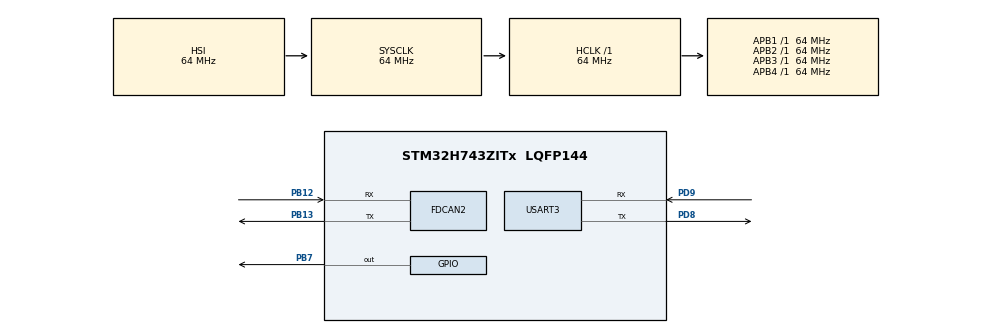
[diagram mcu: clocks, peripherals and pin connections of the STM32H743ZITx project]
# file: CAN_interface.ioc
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Mcu.Family=STM32H7
Mcu.Name=STM32H743ZITx
Mcu.Package=LQFP144
NVIC.PriorityGroup=NVIC_PRIORITYGROUP_4
PB12.Mode=FDCANSlave
PB12.Signal=FDCAN2_RX
PB13.Mode=FDCANSlave
PB13.Signal=FDCAN2_TX
PB7.Signal=GPIO_Output
PD8.Mode=Asynchronous
PD8.Signal=USART3_TX
PD9.Mode=Asynchronous
PD9.Signal=USART3_RX
ProjectManager.HeapSize=0x200
ProjectManager.StackSize=0x400
ProjectManager.TargetToolchain=SW4STM32
RCC.ADCFreq_Value=129000000
RCC.APB1Freq_Value=64000000
RCC.APB2Freq_Value=64000000
RCC.APB3Freq_Value=64000000
RCC.APB4Freq_Value=64000000
RCC.CortexFreq_Value=64000000
RCC.HCLKFreq_Value=64000000
RCC.SYSCLKFreq_VALUE=64000000
RCC.USBFreq_Value=129000000
USART3.VirtualMode-Asynchronous=VM_ASYNC
board=custom

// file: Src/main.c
/**
  ******************************************************************************
  * @file           : main.c
  * @brief          : Main program body
  ******************************************************************************
  ** This notice applies to any and all portions of this file
  * that are not between comment pairs USER CODE BEGIN and
  * USER CODE END. Other portions of this file, whether
  * inserted by the user or by software development tools
  * are owned by their respective copyright owners.
  *
  * COPYRIGHT(c) 2018 STMicroelectronics
  *
  * Redistribution and use in source and binary forms, with or without modification,
  * are permitted provided that the following conditions are met:
  *   1. Redistributions of source code must retain the above copyright notice,
  *      this list of conditions and the following disclaimer.
  *   2. Redistributions in binary form must reproduce the above copyright notice,
  *      this list of conditions and the following disclaimer in the documentation
  *      and/or other materials provided with the distribution.
  *   3. Neither the name of STMicroelectronics nor the names of its contributors
  *      may be used to endorse or promote products derived from this software
  *      without specific prior written permission.
  *
  * THIS SOFTWARE IS PROVIDED BY THE COPYRIGHT HOLDERS AND CONTRIBUTORS "AS IS"
  * AND ANY EXPRESS OR IMPLIED WARRANTIES, INCLUDING, BUT NOT LIMITED TO, THE
  * IMPLIED WARRANTIES OF MERCHANTABILITY AND FITNESS FOR A PARTICULAR PURPOSE ARE
  * DISCLAIMED. IN NO EVENT SHALL THE COPYRIGHT HOLDER OR CONTRIBUTORS BE LIABLE
  * FOR ANY DIRECT, INDIRECT, INCIDENTAL, SPECIAL, EXEMPLARY, OR CONSEQUENTIAL
  * DAMAGES (INCLUDING, BUT NOT LIMITED TO, PROCUREMENT OF SUBSTITUTE GOODS OR
  * SERVICES; LOSS OF USE, DATA, OR PROFITS; OR BUSINESS INTERRUPTION) HOWEVER
  * CAUSED AND ON ANY THEORY OF LIABILITY, WHETHER IN CONTRACT, STRICT LIABILITY,
  * OR TORT (INCLUDING NEGLIGENCE OR OTHERWISE) ARISING IN ANY WAY OUT OF THE USE
  * OF THIS SOFTWARE, EVEN IF ADVISED OF THE POSSIBILITY OF SUCH DAMAGE.
  *
  ******************************************************************************
  */
#include "main.h"
#include "stm32h7xx_hal.h"

FDCAN_HandleTypeDef hfdcan2;

UART_HandleTypeDef huart3;

/* USER CODE BEGIN PV */
/* Private variables ---------------------------------------------------------*/
#define TRANSMITTER 0

FDCAN_RxHeaderTypeDef RxHeader;
uint8_t RxData[8];
FDCAN_TxHeaderTypeDef TxHeader;
uint8_t TxData[8] = "Trillium";
uint8_t new_line = '\n';
FDCAN_FilterTypeDef sFilterConfig;
/* USER CODE END PV */

void SystemClock_Config(void);
static void MX_GPIO_Init(void);
static void MX_USART3_UART_Init(void);
static void MX_FDCAN2_Init(void);

/* USER CODE BEGIN PFP */
/* Private function prototypes -----------------------------------------------*/

/* USER CODE END PFP */

int main(void)
{

  /* MCU Configuration----------------------------------------------------------*/

  /* Reset of all peripherals, Initializes the Flash interface and the Systick. */
  HAL_Init();

  /* Configure the system clock */
  SystemClock_Config();

  /* Initialize all configured peripherals */
  MX_GPIO_Init();
  MX_USART3_UART_Init();
  MX_FDCAN2_Init();
  /* USER CODE BEGIN 2 */
  HAL_FDCAN_Start(&hfdcan2);

  if (TRANSMITTER) {
	  /* Prepare Tx Header */
	  TxHeader.Identifier = 0x321;
	  TxHeader.IdType = FDCAN_STANDARD_ID;
	  TxHeader.TxFrameType = FDCAN_DATA_FRAME;
	  TxHeader.DataLength = FDCAN_DLC_BYTES_8;
	  TxHeader.ErrorStateIndicator = FDCAN_ESI_ACTIVE;
	  TxHeader.BitRateSwitch = FDCAN_BRS_OFF;
	  TxHeader.FDFormat = FDCAN_CLASSIC_CAN;
	  TxHeader.TxEventFifoControl = FDCAN_NO_TX_EVENTS;
	  TxHeader.MessageMarker = 0;
  }
  else {
	  /* Configure extended ID reception filter to Rx FIFO 1 */
	  sFilterConfig.IdType = FDCAN_STANDARD_ID;
	  sFilterConfig.FilterIndex = 0;
	  sFilterConfig.FilterType = FDCAN_FILTER_DUAL;
	  sFilterConfig.FilterConfig = FDCAN_FILTER_TO_RXFIFO1;
	  sFilterConfig.FilterID1 = 0x321;
	  HAL_FDCAN_ConfigFilter(&hfdcan2, &sFilterConfig);
  }
  /* USER CODE END 2 */

  /* Infinite loop */
  /* USER CODE BEGIN WHILE */
  while (1)
  {
	  if (TRANSMITTER) {
		  HAL_FDCAN_AddMessageToTxFifoQ(&hfdcan2, &TxHeader, TxData);
		  HAL_Delay(2000);
	  }
	  else {
		  while (HAL_FDCAN_GetRxMessage(&hfdcan2, FDCAN_RX_FIFO1, &RxHeader, RxData) != HAL_OK);
		  HAL_UART_Transmit(&huart3, RxData, 8, 0xFF);
		  HAL_UART_Transmit(&huart3, &new_line, 1, 0xFF);
	  }

	  HAL_GPIO_WritePin(GPIOB, GPIO_PIN_7, GPIO_PIN_SET);
	  HAL_Delay(1000);
	  HAL_GPIO_WritePin(GPIOB, GPIO_PIN_7, GPIO_PIN_RESET);

  /* USER CODE END WHILE */

  }

}

void SystemClock_Config(void)
{

  RCC_OscInitTypeDef RCC_OscInitStruct;
  RCC_ClkInitTypeDef RCC_ClkInitStruct;
  RCC_PeriphCLKInitTypeDef PeriphClkInitStruct;

    /**Supply configuration update enable
    */
  MODIFY_REG(PWR->CR3, PWR_CR3_SCUEN, 0);

    /**Configure the main internal regulator output voltage
    */
  __HAL_PWR_VOLTAGESCALING_CONFIG(PWR_REGULATOR_VOLTAGE_SCALE3);

  while ((PWR->D3CR & (PWR_D3CR_VOSRDY)) != PWR_D3CR_VOSRDY)
  {

  }
    /**Initializes the CPU, AHB and APB busses clocks
    */
  RCC_OscInitStruct.OscillatorType = RCC_OSCILLATORTYPE_HSI;
  RCC_OscInitStruct.HSIState = RCC_HSI_DIV1;
  RCC_OscInitStruct.HSICalibrationValue = 16;
  RCC_OscInitStruct.PLL.PLLState = RCC_PLL_ON;
  RCC_OscInitStruct.PLL.PLLSource = RCC_PLLSOURCE_HSI;
  RCC_OscInitStruct.PLL.PLLM = 32;
  RCC_OscInitStruct.PLL.PLLN = 129;
  RCC_OscInitStruct.PLL.PLLP = 2;
  RCC_OscInitStruct.PLL.PLLQ = 2;
  RCC_OscInitStruct.PLL.PLLR = 2;
  RCC_OscInitStruct.PLL.PLLRGE = RCC_PLL1VCIRANGE_1;
  RCC_OscInitStruct.PLL.PLLVCOSEL = RCC_PLL1VCOWIDE;
  RCC_OscInitStruct.PLL.PLLFRACN = 0;
  if (HAL_RCC_OscConfig(&RCC_OscInitStruct) != HAL_OK)
  {
    _Error_Handler(__FILE__, __LINE__);
  }

    /**Initializes the CPU, AHB and APB busses clocks
    */
  RCC_ClkInitStruct.ClockType = RCC_CLOCKTYPE_HCLK|RCC_CLOCKTYPE_SYSCLK
                              |RCC_CLOCKTYPE_PCLK1|RCC_CLOCKTYPE_PCLK2
                              |RCC_CLOCKTYPE_D3PCLK1|RCC_CLOCKTYPE_D1PCLK1;
  RCC_ClkInitStruct.SYSCLKSource = RCC_SYSCLKSOURCE_HSI;
  RCC_ClkInitStruct.SYSCLKDivider = RCC_SYSCLK_DIV1;
  RCC_ClkInitStruct.AHBCLKDivider = RCC_HCLK_DIV1;
  RCC_ClkInitStruct.APB3CLKDivider = RCC_APB3_DIV1;
  RCC_ClkInitStruct.APB1CLKDivider = RCC_APB1_DIV1;
  RCC_ClkInitStruct.APB2CLKDivider = RCC_APB2_DIV1;
  RCC_ClkInitStruct.APB4CLKDivider = RCC_APB4_DIV1;

  if (HAL_RCC_ClockConfig(&RCC_ClkInitStruct, FLASH_LATENCY_0) != HAL_OK)
  {
    _Error_Handler(__FILE__, __LINE__);
  }

  PeriphClkInitStruct.PeriphClockSelection = RCC_PERIPHCLK_USART3|RCC_PERIPHCLK_FDCAN;
  PeriphClkInitStruct.FdcanClockSelection = RCC_FDCANCLKSOURCE_PLL;
  PeriphClkInitStruct.Usart234578ClockSelection = RCC_USART234578CLKSOURCE_D2PCLK1;
  if (HAL_RCCEx_PeriphCLKConfig(&PeriphClkInitStruct) != HAL_OK)
  {
    _Error_Handler(__FILE__, __LINE__);
  }

    /**Configure the Systick interrupt time
    */
  HAL_SYSTICK_Config(SystemCoreClock/1000);

    /**Configure the Systick
    */
  HAL_SYSTICK_CLKSourceConfig(SYSTICK_CLKSOURCE_HCLK);

  /* SysTick_IRQn interrupt configuration */
  HAL_NVIC_SetPriority(SysTick_IRQn, 0, 0);
}

/* FDCAN2 init function */
static void MX_FDCAN2_Init(void)
{

  hfdcan2.Instance = FDCAN2;
  hfdcan2.Init.FrameFormat = FDCAN_FRAME_CLASSIC;
  hfdcan2.Init.Mode = FDCAN_MODE_NORMAL;
  hfdcan2.Init.AutoRetransmission = DISABLE;
  hfdcan2.Init.TransmitPause = DISABLE;
  hfdcan2.Init.ProtocolException = ENABLE;
  hfdcan2.Init.NominalPrescaler = 0x1;
  hfdcan2.Init.NominalSyncJumpWidth = 0x8;
  hfdcan2.Init.NominalTimeSeg1 = 0x1F;
  hfdcan2.Init.NominalTimeSeg2 = 0x8;
  hfdcan2.Init.MessageRAMOffset = 0;
  hfdcan2.Init.StdFiltersNbr = 1;
  hfdcan2.Init.ExtFiltersNbr = 0;
  hfdcan2.Init.RxFifo0ElmtsNbr = 1;
  hfdcan2.Init.RxFifo0ElmtSize = FDCAN_DATA_BYTES_8;
  hfdcan2.Init.RxFifo1ElmtsNbr = 1;
  hfdcan2.Init.RxFifo1ElmtSize = FDCAN_DATA_BYTES_8;
  hfdcan2.Init.RxBuffersNbr = 0;
  hfdcan2.Init.TxEventsNbr = 0;
  hfdcan2.Init.TxBuffersNbr = 0;
  hfdcan2.Init.TxFifoQueueElmtsNbr = 1;
  hfdcan2.Init.TxFifoQueueMode = FDCAN_TX_FIFO_OPERATION;
  hfdcan2.Init.TxElmtSize = FDCAN_DATA_BYTES_8;
  if (HAL_FDCAN_Init(&hfdcan2) != HAL_OK)
  {
    _Error_Handler(__FILE__, __LINE__);
  }

}

/* USART3 init function */
static void MX_USART3_UART_Init(void)
{

  huart3.Instance = USART3;
  huart3.Init.BaudRate = 115200;
  huart3.Init.WordLength = UART_WORDLENGTH_8B;
  huart3.Init.StopBits = UART_STOPBITS_1;
  huart3.Init.Parity = UART_PARITY_NONE;
  huart3.Init.Mode = UART_MODE_TX_RX;
  huart3.Init.HwFlowCtl = UART_HWCONTROL_NONE;
  huart3.Init.OverSampling = UART_OVERSAMPLING_16;
  huart3.Init.OneBitSampling = UART_ONE_BIT_SAMPLE_DISABLE;
  huart3.Init.Prescaler = UART_PRESCALER_DIV1;
  huart3.Init.FIFOMode = UART_FIFOMODE_DISABLE;
  huart3.Init.TXFIFOThreshold = UART_TXFIFO_THRESHOLD_1_8;
  huart3.Init.RXFIFOThreshold = UART_RXFIFO_THRESHOLD_1_8;
  huart3.AdvancedInit.AdvFeatureInit = UART_ADVFEATURE_NO_INIT;
  if (HAL_UART_Init(&huart3) != HAL_OK)
  {
    _Error_Handler(__FILE__, __LINE__);
  }

}

/** Configure pins as
        * Analog
        * Input
        * Output
        * EVENT_OUT
        * EXTI
*/
static void MX_GPIO_Init(void)
{

  GPIO_InitTypeDef GPIO_InitStruct;

  /* GPIO Ports Clock Enable */
  __HAL_RCC_GPIOB_CLK_ENABLE();
  __HAL_RCC_GPIOD_CLK_ENABLE();

  /*Configure GPIO pin Output Level */
  HAL_GPIO_WritePin(GPIOB, GPIO_PIN_7, GPIO_PIN_RESET);

  /*Configure GPIO pin : PB7 */
  GPIO_InitStruct.Pin = GPIO_PIN_7;
  GPIO_InitStruct.Mode = GPIO_MODE_OUTPUT_PP;
  GPIO_InitStruct.Pull = GPIO_NOPULL;
  GPIO_InitStruct.Speed = GPIO_SPEED_FREQ_LOW;
  HAL_GPIO_Init(GPIOB, &GPIO_InitStruct);

}

void _Error_Handler(char *file, int line)
{
  while(1)
  {
  }
}

/************************ (C) COPYRIGHT STMicroelectronics *****END OF FILE****/
